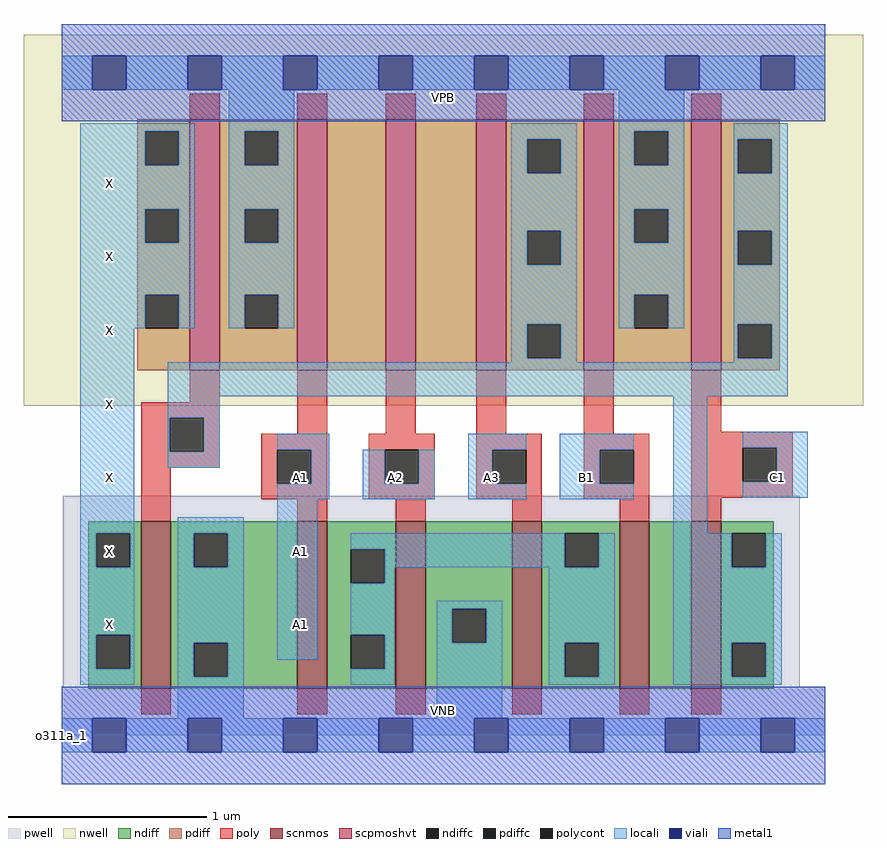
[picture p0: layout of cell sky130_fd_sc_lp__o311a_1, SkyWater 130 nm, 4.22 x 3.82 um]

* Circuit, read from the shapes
.subckt sky130_fd_sc_lp__o311a_1 A1 A2 A3 B1 C1 VGND VNB VPB VPWR X
XM1 VGND n1 X VNB sky130_fd_pr__nfet_01v8 w=0.84 l=0.15
XM2 n2 A1 VGND VNB sky130_fd_pr__nfet_01v8 w=0.84 l=0.15
XM3 VGND A2 n2 VNB sky130_fd_pr__nfet_01v8 w=0.84 l=0.15
XM4 n2 A3 VGND VNB sky130_fd_pr__nfet_01v8 w=0.84 l=0.15
XM5 n3 B1 n2 VNB sky130_fd_pr__nfet_01v8 w=0.84 l=0.15
XM6 n1 C1 n3 VNB sky130_fd_pr__nfet_01v8 w=0.84 l=0.15
XM7 VPWR n1 X VPB sky130_fd_pr__pfet_01v8_hvt w=1.26 l=0.15
XM8 n4 A1 VPWR VPB sky130_fd_pr__pfet_01v8_hvt w=1.26 l=0.15
XM9 n5 A2 n4 VPB sky130_fd_pr__pfet_01v8_hvt w=1.26 l=0.15
XM10 n1 A3 n5 VPB sky130_fd_pr__pfet_01v8_hvt w=1.26 l=0.15
XM11 VPWR B1 n1 VPB sky130_fd_pr__pfet_01v8_hvt w=1.26 l=0.15
XM12 n1 C1 VPWR VPB sky130_fd_pr__pfet_01v8_hvt w=1.26 l=0.15
.ends

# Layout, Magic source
magic
tech sky130A
magscale 1 2
<< nwell >>
rect -38 331 806 704
<< pwell >>
rect 1 49 742 241
rect 0 0 768 49
<< scnmos >>
rect 80 47 110 215
rect 237 47 267 215
rect 336 47 366 215
rect 453 47 483 215
rect 561 47 591 215
rect 633 47 663 215
<< scpmoshvt >>
rect 129 367 159 619
rect 237 367 267 619
rect 326 367 356 619
rect 417 367 447 619
rect 525 367 555 619
rect 633 367 663 619
<< ndiff >>
rect 27 203 80 215
rect 27 169 35 203
rect 69 169 80 203
rect 27 101 80 169
rect 27 67 35 101
rect 69 67 80 101
rect 27 47 80 67
rect 110 203 237 215
rect 110 169 133 203
rect 167 169 237 203
rect 110 93 237 169
rect 110 59 133 93
rect 167 59 237 93
rect 110 47 237 59
rect 267 187 336 215
rect 267 153 291 187
rect 325 153 336 187
rect 267 101 336 153
rect 267 67 291 101
rect 325 67 336 101
rect 267 47 336 67
rect 366 127 453 215
rect 366 93 393 127
rect 427 93 453 127
rect 366 47 453 93
rect 483 203 561 215
rect 483 169 506 203
rect 540 169 561 203
rect 483 93 561 169
rect 483 59 506 93
rect 540 59 561 93
rect 483 47 561 59
rect 591 47 633 215
rect 663 203 716 215
rect 663 169 674 203
rect 708 169 716 203
rect 663 93 716 169
rect 663 59 674 93
rect 708 59 716 93
rect 663 47 716 59
<< pdiff >>
rect 76 607 129 619
rect 76 573 84 607
rect 118 573 129 607
rect 76 529 129 573
rect 76 495 84 529
rect 118 495 129 529
rect 76 443 129 495
rect 76 409 84 443
rect 118 409 129 443
rect 76 367 129 409
rect 159 607 237 619
rect 159 573 184 607
rect 218 573 237 607
rect 159 529 237 573
rect 159 495 184 529
rect 218 495 237 529
rect 159 443 237 495
rect 159 409 184 443
rect 218 409 237 443
rect 159 367 237 409
rect 267 367 326 619
rect 356 367 417 619
rect 447 599 525 619
rect 447 565 468 599
rect 502 565 525 599
rect 447 507 525 565
rect 447 473 468 507
rect 502 473 525 507
rect 447 413 525 473
rect 447 379 468 413
rect 502 379 525 413
rect 447 367 525 379
rect 555 607 633 619
rect 555 573 576 607
rect 610 573 633 607
rect 555 529 633 573
rect 555 495 576 529
rect 610 495 633 529
rect 555 443 633 495
rect 555 409 576 443
rect 610 409 633 443
rect 555 367 633 409
rect 663 599 722 619
rect 663 565 680 599
rect 714 565 722 599
rect 663 507 722 565
rect 663 473 680 507
rect 714 473 722 507
rect 663 413 722 473
rect 663 379 680 413
rect 714 379 722 413
rect 663 367 722 379
<< ndiffc >>
rect 35 169 69 203
rect 35 67 69 101
rect 133 169 167 203
rect 133 59 167 93
rect 291 153 325 187
rect 291 67 325 101
rect 393 93 427 127
rect 506 169 540 203
rect 506 59 540 93
rect 674 169 708 203
rect 674 59 708 93
<< pdiffc >>
rect 84 573 118 607
rect 84 495 118 529
rect 84 409 118 443
rect 184 573 218 607
rect 184 495 218 529
rect 184 409 218 443
rect 468 565 502 599
rect 468 473 502 507
rect 468 379 502 413
rect 576 573 610 607
rect 576 495 610 529
rect 576 409 610 443
rect 680 565 714 599
rect 680 473 714 507
rect 680 379 714 413
<< poly >>
rect 129 619 159 645
rect 237 619 267 645
rect 326 619 356 645
rect 417 619 447 645
rect 525 619 555 645
rect 633 619 663 645
rect 129 335 159 367
rect 80 319 159 335
rect 80 285 109 319
rect 143 285 159 319
rect 237 303 267 367
rect 326 303 356 367
rect 417 303 447 367
rect 525 303 555 367
rect 633 305 663 367
rect 80 269 159 285
rect 201 287 267 303
rect 80 215 110 269
rect 201 253 217 287
rect 251 253 267 287
rect 201 237 267 253
rect 309 287 375 303
rect 309 253 325 287
rect 359 253 375 287
rect 309 237 375 253
rect 417 287 483 303
rect 417 253 433 287
rect 467 253 483 287
rect 417 237 483 253
rect 525 287 591 303
rect 525 253 541 287
rect 575 253 591 287
rect 525 237 591 253
rect 237 215 267 237
rect 336 215 366 237
rect 453 215 483 237
rect 561 215 591 237
rect 633 289 735 305
rect 633 255 685 289
rect 719 255 735 289
rect 633 239 735 255
rect 633 215 663 239
rect 80 21 110 47
rect 237 21 267 47
rect 336 21 366 47
rect 453 21 483 47
rect 561 21 591 47
rect 633 21 663 47
<< polycont >>
rect 109 285 143 319
rect 217 253 251 287
rect 325 253 359 287
rect 433 253 467 287
rect 541 253 575 287
rect 685 255 719 289
<< locali >>
rect 0 649 31 683
rect 65 649 127 683
rect 161 649 223 683
rect 257 649 319 683
rect 353 649 415 683
rect 449 649 511 683
rect 545 649 607 683
rect 641 649 703 683
rect 737 649 768 683
rect 19 607 134 615
rect 19 573 84 607
rect 118 573 134 607
rect 19 529 134 573
rect 19 495 84 529
rect 118 495 134 529
rect 19 443 134 495
rect 19 409 84 443
rect 118 409 134 443
rect 168 607 234 649
rect 168 573 184 607
rect 218 573 234 607
rect 168 529 234 573
rect 168 495 184 529
rect 218 495 234 529
rect 168 443 234 495
rect 168 409 184 443
rect 218 409 234 443
rect 452 599 518 615
rect 452 565 468 599
rect 502 565 518 599
rect 452 507 518 565
rect 452 473 468 507
rect 502 473 518 507
rect 452 413 518 473
rect 19 203 73 409
rect 452 379 468 413
rect 502 379 518 413
rect 560 607 626 649
rect 560 573 576 607
rect 610 573 626 607
rect 560 529 626 573
rect 560 495 576 529
rect 610 495 626 529
rect 560 443 626 495
rect 560 409 576 443
rect 610 409 626 443
rect 676 599 730 615
rect 676 565 680 599
rect 714 565 730 599
rect 676 507 730 565
rect 676 473 680 507
rect 714 473 730 507
rect 676 413 730 473
rect 452 375 518 379
rect 676 379 680 413
rect 714 379 730 413
rect 676 375 730 379
rect 107 341 730 375
rect 107 319 159 341
rect 107 285 109 319
rect 143 285 159 319
rect 107 269 159 285
rect 217 287 269 303
rect 409 287 467 303
rect 251 253 269 287
rect 217 237 269 253
rect 303 253 325 287
rect 359 253 375 287
rect 303 237 375 253
rect 409 253 433 287
rect 409 237 467 253
rect 501 287 575 303
rect 501 253 541 287
rect 501 237 575 253
rect 19 169 35 203
rect 69 169 73 203
rect 19 101 73 169
rect 19 67 35 101
rect 69 67 73 101
rect 19 51 73 67
rect 117 203 183 219
rect 117 169 133 203
rect 167 169 183 203
rect 117 93 183 169
rect 117 59 133 93
rect 167 59 183 93
rect 217 76 257 237
rect 615 203 649 341
rect 685 289 750 305
rect 719 255 750 289
rect 685 239 750 255
rect 291 187 506 203
rect 325 169 506 187
rect 540 169 556 203
rect 325 153 335 169
rect 291 101 335 153
rect 117 17 183 59
rect 325 67 335 101
rect 291 51 335 67
rect 377 127 443 135
rect 377 93 393 127
rect 427 93 443 127
rect 377 17 443 93
rect 490 93 556 169
rect 490 59 506 93
rect 540 59 556 93
rect 490 51 556 59
rect 615 169 674 203
rect 708 169 724 203
rect 615 93 724 169
rect 615 59 674 93
rect 708 59 724 93
rect 615 51 724 59
rect 0 -17 31 17
rect 65 -17 127 17
rect 161 -17 223 17
rect 257 -17 319 17
rect 353 -17 415 17
rect 449 -17 511 17
rect 545 -17 607 17
rect 641 -17 703 17
rect 737 -17 768 17
<< viali >>
rect 31 649 65 683
rect 127 649 161 683
rect 223 649 257 683
rect 319 649 353 683
rect 415 649 449 683
rect 511 649 545 683
rect 607 649 641 683
rect 703 649 737 683
rect 31 -17 65 17
rect 127 -17 161 17
rect 223 -17 257 17
rect 319 -17 353 17
rect 415 -17 449 17
rect 511 -17 545 17
rect 607 -17 641 17
rect 703 -17 737 17
<< metal1 >>
rect 0 683 768 715
rect 0 649 31 683
rect 65 649 127 683
rect 161 649 223 683
rect 257 649 319 683
rect 353 649 415 683
rect 449 649 511 683
rect 545 649 607 683
rect 641 649 703 683
rect 737 649 768 683
rect 0 617 768 649
rect 0 17 768 49
rect 0 -17 31 17
rect 65 -17 127 17
rect 161 -17 223 17
rect 257 -17 319 17
rect 353 -17 415 17
rect 449 -17 511 17
rect 545 -17 607 17
rect 641 -17 703 17
rect 737 -17 768 17
rect 0 -49 768 -17
<< labels >>
flabel pwell s 0 0 768 49 0 FreeSans 200 0 0 0 VNB
port 7 nsew ground bidirectional
flabel nwell s 0 617 768 666 0 FreeSans 200 0 0 0 VPB
port 8 nsew power bidirectional
rlabel comment s 0 0 0 0 4 o311a_1
flabel metal1 s 0 617 768 666 0 FreeSans 340 0 0 0 VPWR
port 9 nsew power bidirectional
flabel metal1 s 0 0 768 49 0 FreeSans 340 0 0 0 VGND
port 6 nsew ground bidirectional
flabel locali s 223 94 257 128 0 FreeSans 340 0 0 0 A1
port 1 nsew signal input
flabel locali s 223 168 257 202 0 FreeSans 340 0 0 0 A1
port 1 nsew signal input
flabel locali s 223 242 257 276 0 FreeSans 340 0 0 0 A1
port 1 nsew signal input
flabel locali s 319 242 353 276 0 FreeSans 340 0 0 0 A2
port 2 nsew signal input
flabel locali s 415 242 449 276 0 FreeSans 340 0 0 0 A3
port 3 nsew signal input
flabel locali s 511 242 545 276 0 FreeSans 340 0 0 0 B1
port 4 nsew signal input
flabel locali s 703 242 737 276 0 FreeSans 340 0 0 0 C1
port 5 nsew signal input
flabel locali s 31 94 65 128 0 FreeSans 340 0 0 0 X
port 10 nsew signal output
flabel locali s 31 168 65 202 0 FreeSans 340 0 0 0 X
port 10 nsew signal output
flabel locali s 31 242 65 276 0 FreeSans 340 0 0 0 X
port 10 nsew signal output
flabel locali s 31 316 65 350 0 FreeSans 340 0 0 0 X
port 10 nsew signal output
flabel locali s 31 390 65 424 0 FreeSans 340 0 0 0 X
port 10 nsew signal output
flabel locali s 31 464 65 498 0 FreeSans 340 0 0 0 X
port 10 nsew signal output
flabel locali s 31 538 65 572 0 FreeSans 340 0 0 0 X
port 10 nsew signal output
<< properties >>
string LEFsite unit
string LEFclass CORE
string FIXED_BBOX 0 0 768 666
string GDS_FILE $PDKPATH/libs.ref/sky130_fd_sc_lp/gds/sky130_fd_sc_lp.gds
string LEFsymmetry X Y R90
string GDS_END 4406688
string GDS_START 4398958
<< end >>
